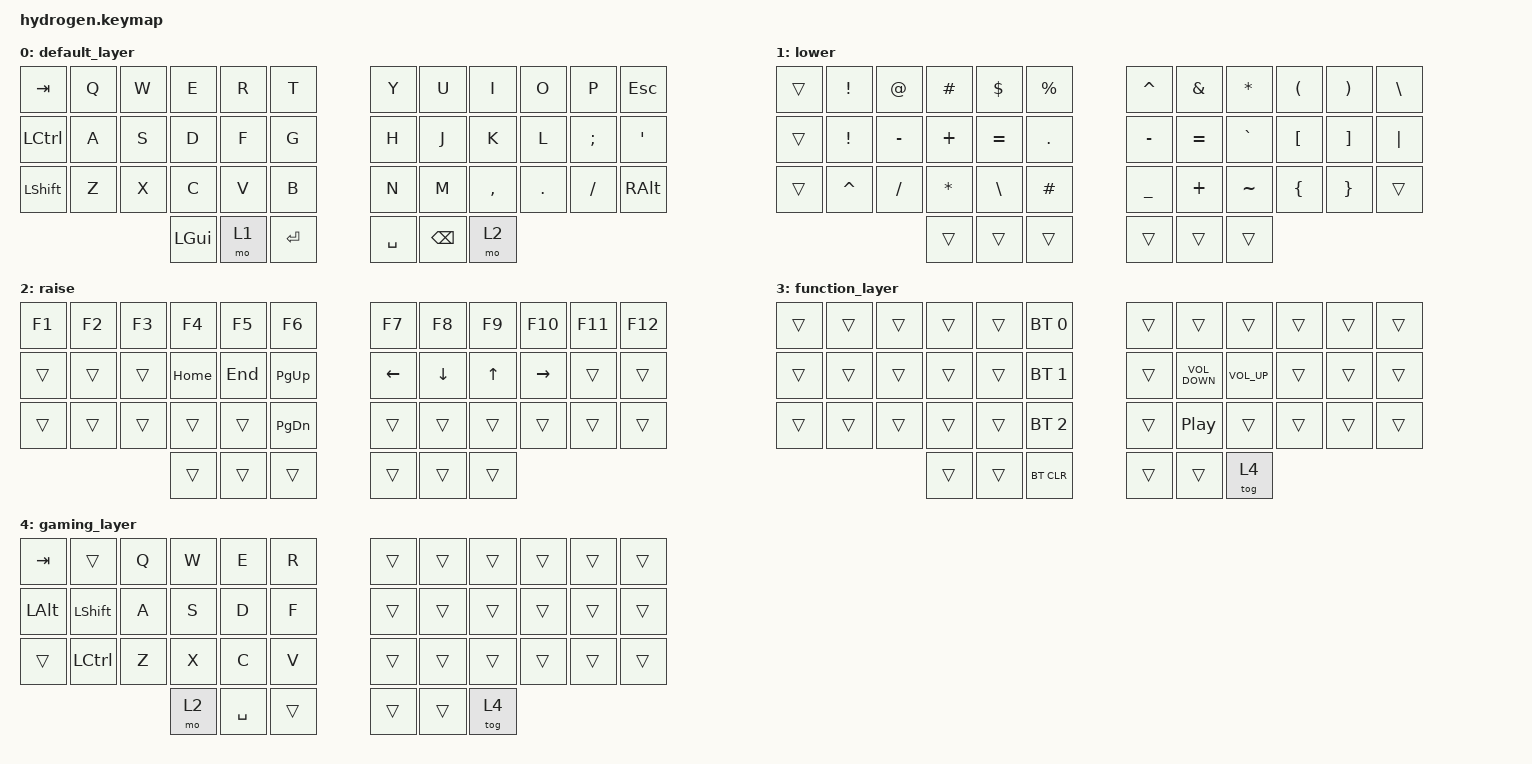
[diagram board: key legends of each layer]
#include <behaviors.dtsi>
#include <dt-bindings/zmk/bt.h>
#include <dt-bindings/zmk/keys.h>

#define SYM 1
#define NUM 2
#define FN  3

/ {
    conditional_layers {
        compatible = "zmk,conditional-layers";

        tri_layer {
            if-layers = <1 2>;
            then-layer = <3>;
        };
    };

    keymap {
        compatible = "zmk,keymap";

        default_layer {
            bindings = <
&kp TAB    &kp Q  &kp W  &kp E         &kp R  &kp T        &kp Y      &kp U          &kp I      &kp O    &kp P     &kp ESC
&kp LCTRL  &kp A  &kp S  &kp D         &kp F  &kp G        &kp H      &kp J          &kp K      &kp L    &kp SEMI  &kp SQT
&kp LSHFT  &kp Z  &kp X  &kp C         &kp V  &kp B        &kp N      &kp M          &kp COMMA  &kp DOT  &kp FSLH  &kp RIGHT_ALT
                         &kp LEFT_GUI  &mo 1  &kp ENTER    &kp SPACE  &kp BACKSPACE  &mo 2
            >;
        };

        lower {
            bindings = <
&trans  &kp EXCLAMATION  &kp AT_SIGN  &kp POUND  &kp DOLLAR     &kp PERCENT    &kp CARET       &kp AMPERSAND  &kp ASTRK  &kp LEFT_PARENTHESIS  &kp RIGHT_PARENTHESIS  &kp BSLH
&trans  &kp EXCL         &kp MINUS    &kp PLUS   &kp EQUAL      &kp DOT        &kp MINUS       &kp EQUAL      &kp GRAVE  &kp LEFT_BRACKET      &kp RIGHT_BRACKET      &kp PIPE
&trans  &kp CARET        &kp FSLH     &kp STAR   &kp BACKSLASH  &kp HASH       &kp UNDERSCORE  &kp PLUS       &kp TILDE  &kp LEFT_BRACE        &kp RIGHT_BRACE        &trans
                                      &trans     &trans         &trans         &trans          &trans         &trans
            >;
        };

        raise {
            bindings = <
&kp F1  &kp F2  &kp F3  &kp F4    &kp F5   &kp F6           &kp F7    &kp F8    &kp F9  &kp F10    &kp F11  &kp F12
&trans  &trans  &trans  &kp HOME  &kp END  &kp PAGE_UP      &kp LEFT  &kp DOWN  &kp UP  &kp RIGHT  &trans   &trans
&trans  &trans  &trans  &trans    &trans   &kp PAGE_DOWN    &trans    &trans    &trans  &trans     &trans   &trans
                        &trans    &trans   &trans           &trans    &trans    &trans
            >;
        };

        function_layer {
            bindings = <
&trans  &trans  &trans  &trans  &trans  &bt BT_SEL 0    &trans  &trans             &trans           &trans  &trans  &trans
&trans  &trans  &trans  &trans  &trans  &bt BT_SEL 1    &trans  &kp C_VOLUME_DOWN  &kp C_VOLUME_UP  &trans  &trans  &trans
&trans  &trans  &trans  &trans  &trans  &bt BT_SEL 2    &trans  &kp C_PLAY_PAUSE   &trans           &trans  &trans  &trans
                        &trans  &trans  &bt BT_CLR      &trans  &trans             &tog 4
            >;
        };

        gaming_layer {
            bindings = <
&kp TAB   &trans     &kp Q  &kp W  &kp E      &kp R     &trans  &trans  &trans  &trans  &trans  &trans
&kp LALT  &kp LSHFT  &kp A  &kp S  &kp D      &kp F     &trans  &trans  &trans  &trans  &trans  &trans
&trans    &kp LCTRL  &kp Z  &kp X  &kp C      &kp V     &trans  &trans  &trans  &trans  &trans  &trans
                            &mo 2  &kp SPACE  &trans    &trans  &trans  &tog 4
            >;
        };
    };
};
